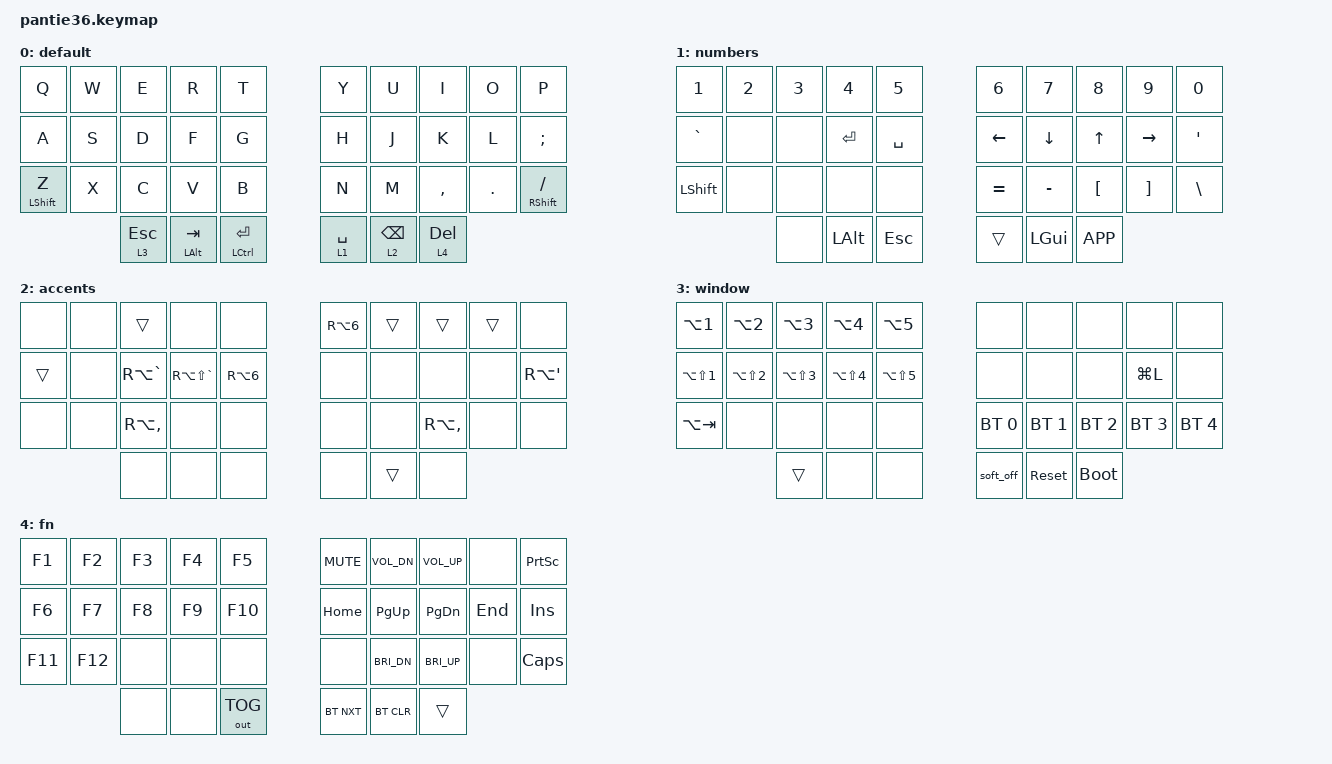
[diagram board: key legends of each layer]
#include <behaviors.dtsi>
#include <dt-bindings/zmk/bt.h>
#include <dt-bindings/zmk/keys.h>
#include <dt-bindings/zmk/outputs.h>

&mt {
    tapping-term-ms = <150>;
    quick-tap-ms = <150>;
};

&lt {
    tapping-term-ms = <150>;
    flavor = "hold-preferred";
    quick-tap-ms = <150>;
};

/ {
    keymap {
        compatible = "zmk,keymap";

        default {
            bindings = <
  &kp Q        &kp W  &kp E      &kp R         &kp T            &kp Y        &kp U       &kp I      &kp O    &kp P
  &kp A        &kp S  &kp D      &kp F         &kp G            &kp H        &kp J       &kp K      &kp L    &kp SEMI
  &mt LSHFT Z  &kp X  &kp C      &kp V         &kp B            &kp N        &kp M       &kp COMMA  &kp DOT  &mt RSHFT FSLH
                      &lt 3 ESC  &mt LALT TAB  &mt LCTRL RET    &lt 1 SPACE  &lt 2 BSPC  &lt 4 DEL
            >;
        };

        numbers {
            bindings = <
  &kp N1     &kp N2  &kp N3  &kp N4    &kp N5       &kp N6     &kp N7     &kp N8     &kp N9     &kp N0
  &kp GRAVE  &none   &none   &kp RET   &kp SPACE    &kp LEFT   &kp DOWN   &kp UP     &kp RIGHT  &kp SQT
  &kp LSHFT  &none   &none   &none     &none        &kp EQUAL  &kp MINUS  &kp LBKT   &kp RBKT   &kp BSLH
                     &none   &kp LALT  &kp ESC      &trans     &kp LGUI   &kp K_APP
            >;
        };

        accents {
            bindings = <
  &none   &none  &trans         &none              &none         &kp RA(N6)  &trans  &trans         &trans  &none
  &trans  &none  &kp RA(GRAVE)  &kp RA(LS(GRAVE))  &kp RA(N6)    &none       &none   &none          &none   &kp RA(SQT)
  &none   &none  &kp RA(COMMA)  &none              &none         &none       &none   &kp RA(COMMA)  &none   &none
                 &none          &none              &none         &none       &trans  &none
            >;
        };

        window {
            bindings = <
  &kp LA(N1)      &kp LA(N2)      &kp LA(N3)      &kp LA(N4)      &kp LA(N5)        &none         &none         &none         &none         &none
  &kp LA(LS(N1))  &kp LA(LS(N2))  &kp LA(LS(N3))  &kp LA(LS(N4))  &kp LA(LS(N5))    &none         &none         &none         &kp LG(L)     &none
  &kp LA(TAB)     &none           &none           &none           &none             &bt BT_SEL 0  &bt BT_SEL 1  &bt BT_SEL 2  &bt BT_SEL 3  &bt BT_SEL 4
                                  &trans          &none           &none             &soft_off     &sys_reset    &bootloader
            >;
        };

        fn {
            bindings = <
  &kp F1   &kp F2   &kp F3  &kp F4  &kp F5          &kp C_MUTE  &kp C_VOL_DN  &kp C_VOL_UP  &none    &kp PRINTSCREEN
  &kp F6   &kp F7   &kp F8  &kp F9  &kp F10         &kp HOME    &kp PG_UP     &kp PG_DN     &kp END  &kp INS
  &kp F11  &kp F12  &none   &none   &none           &none       &kp C_BRI_DN  &kp C_BRI_UP  &none    &kp CAPS
                    &none   &none   &out OUT_TOG    &bt BT_NXT  &bt BT_CLR    &trans
            >;
        };
    };
};
